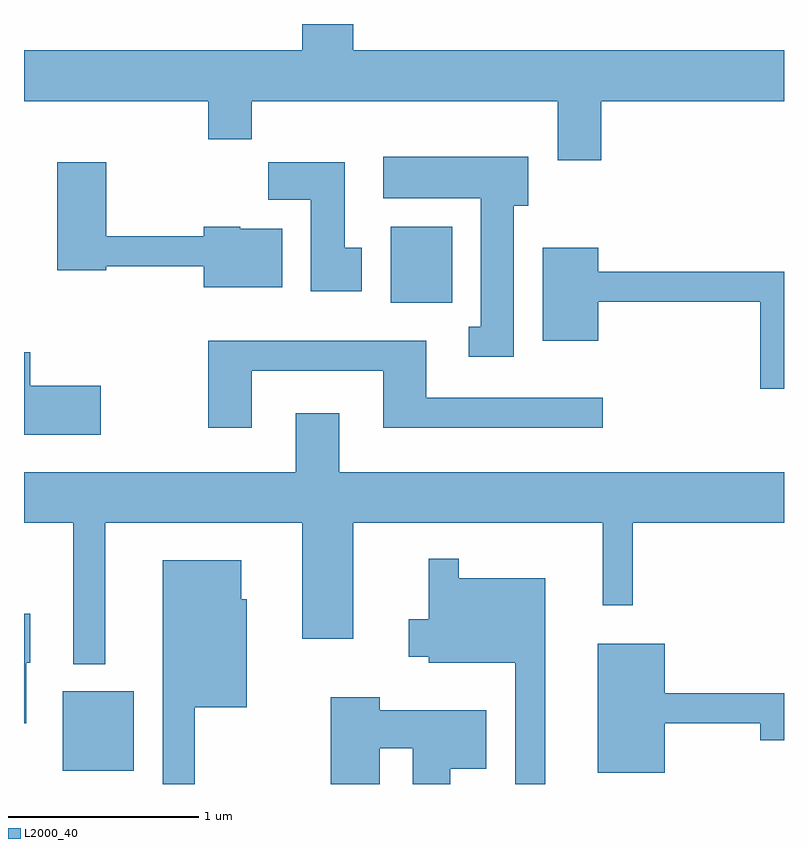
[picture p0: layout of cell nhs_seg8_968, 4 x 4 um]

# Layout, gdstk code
import gdstk
lib = gdstk.Library(unit=1e-6, precision=1e-09)
def R(c, l, rs):  # rectangles x0, y0, x1, y1
    for r in rs: c.add(gdstk.rectangle(r[:2], r[2:], *l))
def P(c, l, *ps):  # polygons
    for p in ps: c.add(gdstk.Polygon(p, *l))
L2000_40 = (2000, 40)

nhs_seg8_968 = lib.new_cell('nhs_seg8_968')
R(nhs_seg8_968, L2000_40, [(213.816,1868.411,214.189,1868.829), (215.541,1870.876,215.864,1871.274)])
P(nhs_seg8_968, L2000_40, [(216.649,1871.936),(217.611,1871.936),(217.611,1872.204),(215.344,1872.204),(215.344,1872.342),(215.076,1872.342),(215.076,1872.204),(213.611,1872.204),(213.611,1871.936),(214.581,1871.936),(214.581,1871.736),(214.809,1871.736),(214.809,1871.936),(216.421,1871.936),(216.421,1871.626),(216.649,1871.626)],
  [(216.189,1871.386),(216.264,1871.386),(216.264,1871.644),(215.501,1871.644),(215.501,1871.426),(216.016,1871.426),(216.016,1870.749),(215.953,1870.749),(215.953,1870.591),(216.189,1870.591)],
  [(214.969,1871.264),(214.75,1871.264),(214.75,1871.274),(214.556,1871.274),(214.556,1871.224),(214.044,1871.224),(214.044,1871.614),(213.786,1871.614),(213.786,1871.046),(214.044,1871.046),(214.044,1871.066),(214.556,1871.066),(214.556,1870.956),(214.969,1870.956)],
  [(215.389,1871.164),(215.299,1871.164),(215.299,1871.614),(214.896,1871.614),(214.896,1871.416),(215.121,1871.416),(215.121,1870.936),(215.389,1870.936)],
  [(217.611,1871.039),(216.634,1871.039),(216.634,1871.164),(216.341,1871.164),(216.341,1870.676),(216.634,1870.676),(216.634,1870.881),(217.486,1870.881),(217.486,1870.421),(217.611,1870.421)],
  [(214.809,1870.516),(215.501,1870.516),(215.501,1870.216),(216.658,1870.216),(216.658,1870.374),(215.729,1870.374),(215.729,1870.674),(214.581,1870.674),(214.581,1870.216),(214.809,1870.216)],
  [(214.014,1870.439),(213.644,1870.439),(213.644,1870.614),(213.611,1870.614),(213.611,1870.181),(214.014,1870.181)],
  [(214.039,1869.716),(215.076,1869.716),(215.076,1869.106),(215.344,1869.106),(215.344,1869.716),(216.656,1869.716),(216.656,1869.283),(216.814,1869.283),(216.814,1869.716),(217.611,1869.716),(217.611,1869.984),(215.269,1869.984),(215.269,1870.294),(215.041,1870.294),(215.041,1869.984),(213.611,1869.984),(213.611,1869.716),(213.871,1869.716),(213.871,1868.973),(214.039,1868.973)],
  [(216.354,1869.424),(215.899,1869.424),(215.899,1869.528),(215.741,1869.528),(215.741,1869.209),(215.636,1869.209),(215.636,1869.011),(215.741,1869.011),(215.741,1868.981),(216.196,1868.981),(216.196,1868.342),(216.354,1868.342)],
  [(214.509,1868.746),(214.784,1868.746),(214.784,1869.314),(214.754,1869.314),(214.754,1869.519),(214.341,1869.519),(214.341,1868.342),(214.509,1868.342)],
  [(213.624,1868.981),(213.644,1868.981),(213.644,1869.239),(213.611,1869.239),(213.611,1868.661),(213.624,1868.661)],
  [(216.984,1868.661),(217.486,1868.661),(217.486,1868.571),(217.611,1868.571),(217.611,1868.819),(216.984,1868.819),(216.984,1869.079),(216.631,1869.079),(216.631,1868.401),(216.984,1868.401)],
  [(215.484,1868.531),(215.656,1868.531),(215.656,1868.342),(215.854,1868.342),(215.854,1868.421),(216.044,1868.421),(216.044,1868.729),(215.484,1868.729),(215.484,1868.799),(215.226,1868.799),(215.226,1868.342),(215.484,1868.342)])

lib.write_gds('nhs_seg8_968.gds')
